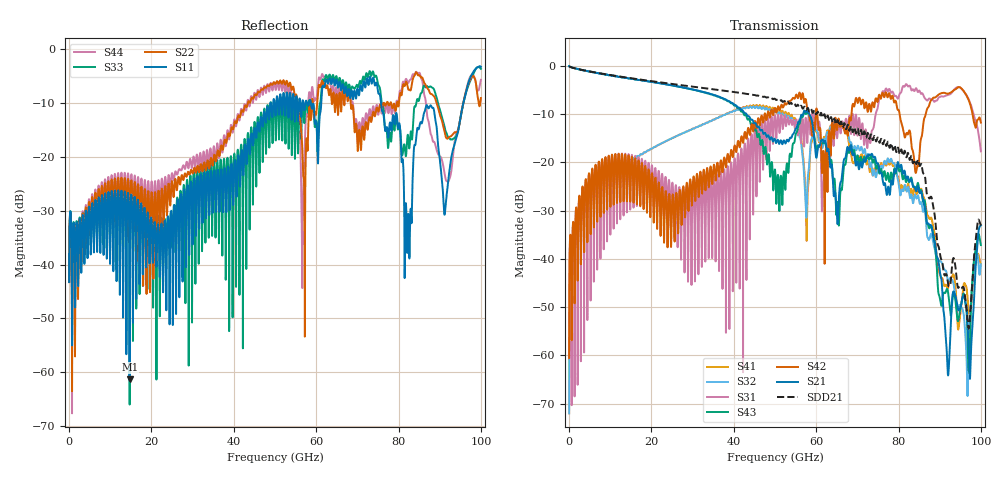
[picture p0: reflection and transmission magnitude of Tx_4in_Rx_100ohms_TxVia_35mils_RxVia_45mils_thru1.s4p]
! Info: Touchstone file created by Circ.  Input file=Tx_4in_Rx_100ohms_TxVia_35mils_RxVia_45mils.circ
# Hz S RI R 50
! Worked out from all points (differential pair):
!   10000 points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, 10 MHz to 100 GHz, reference 50 ohm
!   strongest paths, dB at 10 MHz, 25.01 GHz, 50.01 GHz, 75.01 GHz, 100 GHz:
!     S21: -0.1, -4.0, -15.2, -20.2, -33.0
!     S42: -60.5, -28.6, -8.7, -7.1, -11.7
!     S43: -0.1, -4.0, -21.5, -20.7, -37.1
!     S31: -60.5, -24.5, -10.3, -8.3, -17.7
!     S32: -72.0, -15.0, -9.6, -21.7, -41.1
!     S41: -72.0, -15.0, -9.1, -20.6, -41.2
!   taken as a pair (ports 1,3 in; 2,4 out), SDD21 dB: -0.1, -3.7, -6.8, -14.9, -33.1
!   lowest |S11| = -61.4 dB at 14.71 GHz (marker M1), VSWR 1.00, Z = 50.1 + j0.0206 ohm
!   |S11| at or under -10 dB: start of sweep to 48.87 GHz; 58.72 GHz to 61.24 GHz (2.522 GHz wide, 4.2 % of centre); 75.75 GHz to 95.74 GHz (20 GHz wide, 23.3 % of centre)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
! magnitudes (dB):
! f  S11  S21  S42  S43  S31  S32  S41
! 10 MHz  -43.2  -0.1  -60.5  -0.1  -60.5  -72.0  -72.0
! 2.73 GHz  -33.0  -0.8  -31.5  -0.8  -32.1  -32.8  -32.8
! 14.71 GHz  -61.4  -2.6  -22.9  -2.6  -23.4  -19.9  -19.9
! 80.26 GHz  -13.9  -21.1  -10.0  -21.9  -5.8  -26.1  -25.1
! 92.01 GHz  -24.9  -64.1  -5.8  -46.8  -6.0  -44.7  -46.1
! 96.71 GHz  -7.0  -52.2  -6.5  -54.7  -6.4  -67.4  -47.6
! 100 GHz  -3.2  -33.0  -11.7  -37.1  -17.7  -41.1  -41.2
